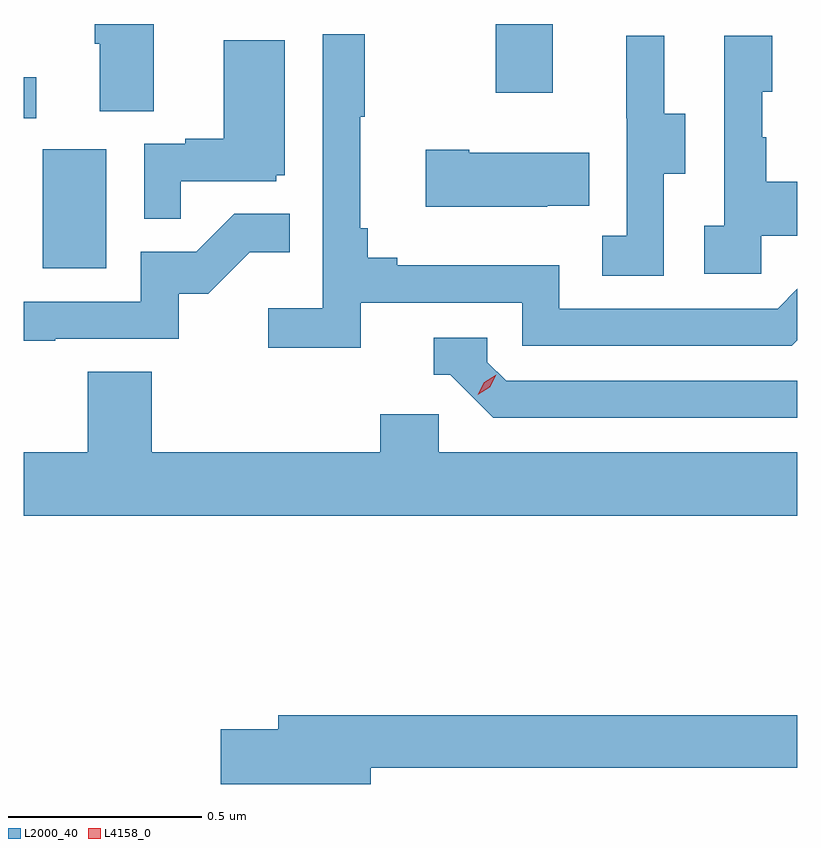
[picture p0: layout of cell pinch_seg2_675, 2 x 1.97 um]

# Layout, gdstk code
import gdstk
lib = gdstk.Library(unit=1e-6, precision=1e-09)
def R(c, l, rs):  # rectangles x0, y0, x1, y1
    for r in rs: c.add(gdstk.rectangle(r[:2], r[2:], *l))
def P(c, l, *ps):  # polygons
    for p in ps: c.add(gdstk.Polygon(p, *l))
L2000_40 = (2000, 40)
L4158_0 = (4158, 0)

pinch_seg2_675 = lib.new_cell('pinch_seg2_675')
R(pinch_seg2_675, L2000_40, [(1045.994,587.004,1046.158,587.311), (1045.945,587.391,1045.978,587.497), (1047.166,587.457,1047.313,587.635)])
P(pinch_seg2_675, L2000_40, [(1046.281,587.635),(1046.129,587.635),(1046.129,587.584),(1046.141,587.584),(1046.141,587.41),(1046.281,587.41)],
  [(1046.816,586.914),(1047.234,586.914),(1047.234,586.803),(1047.931,586.803),(1047.945,586.817),(1047.945,586.95),(1047.894,586.899),(1047.33,586.899),(1047.33,587.011),(1046.911,587.011),(1046.911,587.03),(1046.834,587.03),(1046.834,587.107),(1046.815,587.107),(1046.815,587.395),(1046.827,587.395),(1046.827,587.608),(1046.718,587.608),(1046.718,586.9),(1046.577,586.9),(1046.577,586.798),(1046.816,586.798)],
  [(1047.852,587.087),(1047.945,587.087),(1047.945,587.227),(1047.865,587.227),(1047.865,587.342),(1047.855,587.342),(1047.855,587.46),(1047.88,587.46),(1047.88,587.605),(1047.756,587.605),(1047.756,587.114),(1047.705,587.114),(1047.705,586.989),(1047.852,586.989)],
  [(1047.6,587.248),(1047.655,587.248),(1047.655,587.403),(1047.601,587.403),(1047.601,587.605),(1047.503,587.605),(1047.503,587.391),(1047.504,587.391),(1047.504,587.087),(1047.441,587.087),(1047.441,586.984),(1047.6,586.984)],
  [(1046.351,587.229),(1046.598,587.229),(1046.598,587.244),(1046.62,587.244),(1046.62,587.593),(1046.462,587.593),(1046.462,587.338),(1046.363,587.338),(1046.363,587.325),(1046.256,587.325),(1046.256,587.131),(1046.351,587.131)],
  [(1047.299,587.165),(1047.407,587.165),(1047.407,587.302),(1047.097,587.302),(1047.097,587.31),(1046.985,587.31),(1046.985,587.162),(1047.299,587.162)],
  [(1046.027,586.821),(1046.346,586.821),(1046.346,586.938),(1046.422,586.938),(1046.529,587.045),(1046.633,587.045),(1046.633,587.144),(1046.489,587.144),(1046.391,587.046),(1046.247,587.046),(1046.247,586.917),(1045.945,586.917),(1045.945,586.816),(1046.027,586.816)],
  [(1047.945,586.713),(1047.192,586.713),(1047.144,586.761),(1047.144,586.824),(1047.005,586.824),(1047.005,586.728),(1047.048,586.728),(1047.159,586.617),(1047.945,586.617)],
  [(1047.945,586.528),(1047.018,586.528),(1047.018,586.626),(1046.867,586.626),(1046.867,586.528),(1046.276,586.528),(1046.276,586.736),(1046.111,586.736),(1046.111,586.528),(1045.945,586.528),(1045.945,586.364),(1047.945,586.364)],
  [(1046.842,585.712),(1047.945,585.712),(1047.945,585.848),(1046.603,585.848),(1046.603,585.812),(1046.454,585.812),(1046.454,585.67),(1046.842,585.67)])
P(pinch_seg2_675, L4158_0, [(1047.119,586.676),(1047.119,586.677),(1047.136,586.709),(1047.167,586.728),(1047.167,586.728),(1047.167,586.728),(1047.15,586.696),(1047.119,586.676)])

lib.write_gds('pinch_seg2_675.gds')
